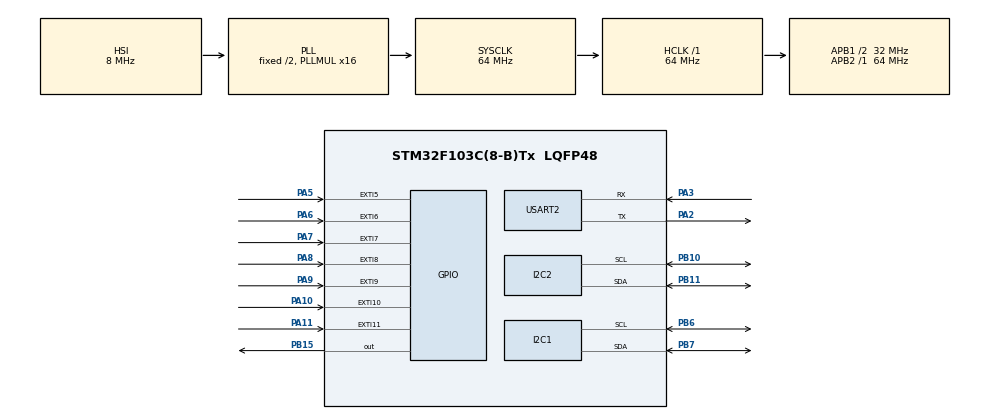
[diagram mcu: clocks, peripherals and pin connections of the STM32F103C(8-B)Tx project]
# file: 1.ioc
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Dma.I2C2_RX.1.Direction=DMA_PERIPH_TO_MEMORY
Dma.I2C2_RX.1.Instance=DMA1_Channel5
Dma.I2C2_RX.1.MemDataAlignment=DMA_MDATAALIGN_BYTE
Dma.I2C2_RX.1.MemInc=DMA_MINC_ENABLE
Dma.I2C2_RX.1.Mode=DMA_CIRCULAR
Dma.I2C2_RX.1.PeriphDataAlignment=DMA_PDATAALIGN_BYTE
Dma.I2C2_RX.1.PeriphInc=DMA_PINC_DISABLE
Dma.I2C2_RX.1.Priority=DMA_PRIORITY_LOW
Dma.MEMTOMEM.0.Direction=DMA_MEMORY_TO_MEMORY
Dma.MEMTOMEM.0.Instance=DMA1_Channel1
Dma.MEMTOMEM.0.MemDataAlignment=DMA_MDATAALIGN_BYTE
Dma.MEMTOMEM.0.MemInc=DMA_MINC_ENABLE
Dma.MEMTOMEM.0.Mode=DMA_NORMAL
Dma.MEMTOMEM.0.PeriphDataAlignment=DMA_PDATAALIGN_BYTE
Dma.MEMTOMEM.0.PeriphInc=DMA_PINC_ENABLE
Dma.MEMTOMEM.0.Priority=DMA_PRIORITY_LOW
Dma.Request0=MEMTOMEM
Dma.Request1=I2C2_RX
Mcu.Family=STM32F1
Mcu.Name=STM32F103C(8-B)Tx
Mcu.Package=LQFP48
NVIC.DMA1_Channel1_IRQn=true\:0\:0\:false\:false\:true\:true\:true
NVIC.DMA1_Channel5_IRQn=true\:0\:0\:false\:false\:true\:false\:true
NVIC.EXTI15_10_IRQn=true\:0\:0\:false\:false\:true\:true\:true
NVIC.EXTI9_5_IRQn=true\:0\:0\:false\:false\:true\:true\:true
NVIC.I2C1_ER_IRQn=true\:0\:0\:false\:false\:true\:true\:true
NVIC.I2C1_EV_IRQn=true\:0\:0\:false\:false\:true\:true\:true
NVIC.I2C2_ER_IRQn=true\:0\:0\:false\:false\:true\:true\:true
NVIC.I2C2_EV_IRQn=true\:0\:0\:false\:false\:true\:true\:true
NVIC.PriorityGroup=NVIC_PRIORITYGROUP_4
NVIC.RTC_Alarm_IRQn=true\:0\:0\:false\:false\:true\:true\:true
NVIC.TIM1_BRK_IRQn=true\:0\:0\:false\:false\:true\:true\:true
NVIC.TIM1_CC_IRQn=true\:0\:0\:false\:false\:true\:true\:true
NVIC.TIM1_TRG_COM_IRQn=true\:0\:0\:false\:false\:true\:true\:true
NVIC.TIM1_UP_IRQn=true\:0\:0\:false\:false\:true\:true\:true
NVIC.USART2_IRQn=true\:0\:0\:false\:false\:true\:true\:true
PA10.GPIO_ModeDefaultEXTI=GPIO_MODE_IT_FALLING
PA10.GPIO_PuPd=GPIO_PULLUP
PA10.Signal=GPXTI10
PA11.GPIO_ModeDefaultEXTI=GPIO_MODE_IT_FALLING
PA11.GPIO_PuPd=GPIO_PULLUP
PA11.Signal=GPXTI11
PA13.Mode=Serial_Wire
PA13.Signal=SYS_JTMS-SWDIO
PA14.Mode=Serial_Wire
PA14.Signal=SYS_JTCK-SWCLK
PA2.Mode=Asynchronous
PA2.Signal=USART2_TX
PA3.Mode=Asynchronous
PA3.Signal=USART2_RX
PA5.GPIO_ModeDefaultEXTI=GPIO_MODE_IT_FALLING
PA5.GPIO_PuPd=GPIO_PULLUP
PA5.Signal=GPXTI5
PA6.GPIO_ModeDefaultEXTI=GPIO_MODE_IT_FALLING
PA6.GPIO_PuPd=GPIO_PULLUP
PA6.Signal=GPXTI6
PA7.GPIO_ModeDefaultEXTI=GPIO_MODE_IT_FALLING
PA7.GPIO_PuPd=GPIO_PULLUP
PA7.Signal=GPXTI7
PA8.GPIO_ModeDefaultEXTI=GPIO_MODE_IT_FALLING
PA8.GPIO_PuPd=GPIO_PULLUP
PA8.Signal=GPXTI8
PA9.GPIO_ModeDefaultEXTI=GPIO_MODE_IT_FALLING
PA9.GPIO_PuPd=GPIO_PULLUP
PA9.Signal=GPXTI9
PB10.Mode=I2C
PB10.Signal=I2C2_SCL
PB11.Mode=I2C
PB11.Signal=I2C2_SDA
PB15.Signal=GPIO_Output
PB6.Mode=I2C
PB6.Signal=I2C1_SCL
PB7.Mode=I2C
PB7.Signal=I2C1_SDA
ProjectManager.HeapSize=0x200
ProjectManager.StackSize=0x400
ProjectManager.TargetToolchain=MDK-ARM V5.27
RCC.AHBFreq_Value=64000000
RCC.APB1CLKDivider=RCC_HCLK_DIV2
RCC.APB1Freq_Value=32000000
RCC.APB1TimFreq_Value=64000000
RCC.APB2Freq_Value=64000000
RCC.APB2TimFreq_Value=64000000
RCC.HCLKFreq_Value=64000000
RCC.PLLMUL=RCC_PLL_MUL16
RCC.SYSCLKFreq_VALUE=64000000
RCC.SYSCLKSource=RCC_SYSCLKSOURCE_PLLCLK
RCC.USBFreq_Value=64000000
RTC.Format=RTC_FORMAT_BIN
TIM1.Period=999
TIM1.Prescaler=63
USART2.VirtualMode=VM_ASYNC
VP_CRC_VS_CRC.Mode=CRC_Activate
VP_RTC_VS_RTC_Activate.Mode=RTC_Enabled
VP_RTC_VS_RTC_Calendar.Mode=RTC_Calendar
VP_TIM1_VS_ClockSourceINT.Mode=Internal
board=custom

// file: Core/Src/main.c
/* USER CODE BEGIN Header */
/**
  ******************************************************************************
  * @file           : main.c
  * @brief          : Main program body
  ******************************************************************************
  * @attention
  *
  * <h2><center>&copy; Copyright (c) 2022 STMicroelectronics.
  * All rights reserved.</center></h2>
  *
  * This software component is licensed by ST under BSD 3-Clause license,
  * the "License"; You may not use this file except in compliance with the
  * License. You may obtain a copy of the License at:
  *                        opensource.org/licenses/BSD-3-Clause
  *
  ******************************************************************************
  */
/* USER CODE END Header */
#include "main.h"
#include "crc.h"
#include "dma.h"
#include "i2c.h"
#include "rtc.h"
#include "tim.h"
#include "usart.h"
#include "gpio.h"

/* USER CODE BEGIN Includes */
#include "oled.h"
#include "stdio.h"
/* USER CODE END Includes */

/* USER CODE BEGIN PTD */
char lcdLine_1st_line[16];
char lcdLine_2st_line[16];
unsigned int time_100ms=1,time_500ms=1;
unsigned int key_flag=0;
/* USER CODE END PTD */

void SystemClock_Config(void);

/* USER CODE BEGIN 0 */
void key(void);
/* USER CODE END 0 */

int main(void)
{

  /* MCU Configuration--------------------------------------------------------*/

  /* Reset of all peripherals, Initializes the Flash interface and the Systick. */
  HAL_Init();

  /* Configure the system clock */
  SystemClock_Config();

  /* Initialize all configured peripherals */
  MX_GPIO_Init();
  MX_DMA_Init();
  MX_CRC_Init();
  MX_I2C1_Init();
  MX_I2C2_Init();
  MX_RTC_Init();
  MX_TIM1_Init();
  MX_USART2_UART_Init();
  /* USER CODE BEGIN 2 */
	HAL_Delay(100);
	OLED_Init();
	HAL_TIM_Base_Start_IT(&htim1);
	sprintf(lcdLine_2st_line, "welcome");
  /* USER CODE END 2 */

  /* Infinite loop */
  while (1)
  {

    /* USER CODE BEGIN 3 */
//		HAL_GPIO_TogglePin(GPIOB, GPIO_PIN_15);
//		HAL_Delay(1000);

		if(time_500ms==1)
		{
			HAL_RTC_GetTime(&hrtc, &sTime, RTC_FORMAT_BIN);
			HAL_RTC_GetDate(&hrtc, &sdata, RTC_FORMAT_BIN);
			if(sTime.Hours<13)
			{
				sprintf(lcdLine_1st_line, "%2d-%2d-%2d",sTime.Hours,sTime.Minutes,sTime.Seconds);
				OLED_ShowString(72, 0, (unsigned char *)"AM", 8);
			}
			if(sTime.Hours>13)
			{
				sprintf(lcdLine_1st_line, "%2d-%2d-%2d",sTime.Hours,sTime.Minutes,sTime.Seconds);
				OLED_ShowString(72, 0, (unsigned char *)"PM", 8);
			}
			time_500ms=0;
		}
		if(time_100ms==1)
		{
			OLED_ShowString(0, 0, (unsigned char *)lcdLine_1st_line, 16);
			OLED_ShowString(0, 2, (unsigned char *)lcdLine_2st_line, 16);
			time_100ms=0;
		}
		key();
  }
  /* USER CODE END 3 */
}
/* USER CODE BEGIN 4 */
void key()
{
	static unsigned int hour,min,sec;
	static unsigned int time_allow=0,clock_allow=0;
	static unsigned int key_1=0;	//判断按键1按下次数
	if(key_flag!=0)
	{
		HAL_GPIO_TogglePin(GPIOB, GPIO_PIN_15);
		if(key_flag==1)		//设置时间或闹钟的按键
		{
			if(key_1==1)		//设置闹钟
			{
				time_allow=0;clock_allow=1;
				OLED_ShowString(84, 2, (unsigned char *)"alarm ", 8);
			}
			if(key_1==0)		//设置时间
			{
				hour=sTime.Hours;
				min=sTime.Minutes;
				sec=sTime.Seconds;
				time_allow=1;clock_allow=0;
				OLED_ShowString(84, 2, (unsigned char *)"time", 8);
			}
			key_1++;
			if(key_1==2)	key_1=0;
		}
		if(key_flag==2)		//确认键
		{
			if(time_allow==1)
			{
				sTime.Hours=hour;
				sTime.Minutes=min;
				sTime.Seconds=sec;
				HAL_RTC_SetTime(&hrtc, &sTime, RTC_FORMAT_BIN);
			}
		}
		if(key_flag==6)		//断电键
		{
			time_allow=0;clock_allow=0;
			sprintf(lcdLine_2st_line, "                   ");
		}

			//以下代码，附属摁键1之后的操作
			if(time_allow==1)
			{
				if(key_flag==3)
				{
					hour++;
					if(hour==24)	hour=0;
				}
				if(key_flag==4)
				{
					min++;
					if(min==60)		min=0;
				}
				if(key_flag==5)
				{
					sec++;
					if(sec==60)		sec=0;
				}
				sprintf(lcdLine_2st_line, "%2d:%2d:%2d",hour,min,sec);
			}
		key_flag=0;
	}
}
void HAL_GPIO_EXTI_Callback(uint16_t GPIO_Pin)
{
	static unsigned int i=0;
	if(GPIO_Pin==GPIO_PIN_5)
	{
		i++;
		if(i==2)
		{
			key_flag=1;		//设置键
			i=0;
		}
	}
	if(GPIO_Pin==GPIO_PIN_6)
	{
		i++;
		if(i==2)
		{
			key_flag=2;
			i=0;
		}
	}
	if(GPIO_Pin==GPIO_PIN_7)
	{
		i++;
		if(i==3)
		{
			key_flag=3;
			i=0;
		}
	}
	if(GPIO_Pin==GPIO_PIN_8)
	{
		i++;
		if(i==2)
		{
			key_flag=4;
			i=0;
		}
	}
	if(GPIO_Pin==GPIO_PIN_9)
	{
		i++;
		if(i==2)
		{
			key_flag=5;
			i=0;
		}
	}
	if(GPIO_Pin==GPIO_PIN_10)
	{
		i++;
		if(i==2)
		{
			key_flag=6;
			HAL_NVIC_SystemReset();
			i=0;
		}
	}
	if(GPIO_Pin==GPIO_PIN_11)
	{
		i++;
		if(i==2)
		{
			key_flag=7;
			i=0;
		}
	}
}
void HAL_TIM_PeriodElapsedCallback(TIM_HandleTypeDef *htim)
{
//	if(htim->Instance==TIM1)
	{
		static unsigned int a=0,b=0;
		a++;b++;
		if(a==100)
		{
			time_100ms=!time_100ms;
			a=0;
		}
		if(b==500)
		{
			time_500ms=!time_500ms;
			b=0;
		}
	}
}
/* USER CODE END 4 */

void SystemClock_Config(void)
{
  RCC_OscInitTypeDef RCC_OscInitStruct = {0};
  RCC_ClkInitTypeDef RCC_ClkInitStruct = {0};
  RCC_PeriphCLKInitTypeDef PeriphClkInit = {0};

  /** Initializes the RCC Oscillators according to the specified parameters
  * in the RCC_OscInitTypeDef structure.
  */
  RCC_OscInitStruct.OscillatorType = RCC_OSCILLATORTYPE_HSI|RCC_OSCILLATORTYPE_LSI;
  RCC_OscInitStruct.HSIState = RCC_HSI_ON;
  RCC_OscInitStruct.HSICalibrationValue = RCC_HSICALIBRATION_DEFAULT;
  RCC_OscInitStruct.LSIState = RCC_LSI_ON;
  RCC_OscInitStruct.PLL.PLLState = RCC_PLL_ON;
  RCC_OscInitStruct.PLL.PLLSource = RCC_PLLSOURCE_HSI_DIV2;
  RCC_OscInitStruct.PLL.PLLMUL = RCC_PLL_MUL16;
  if (HAL_RCC_OscConfig(&RCC_OscInitStruct) != HAL_OK)
  {
    Error_Handler();
  }
  /** Initializes the CPU, AHB and APB buses clocks
  */
  RCC_ClkInitStruct.ClockType = RCC_CLOCKTYPE_HCLK|RCC_CLOCKTYPE_SYSCLK
                              |RCC_CLOCKTYPE_PCLK1|RCC_CLOCKTYPE_PCLK2;
  RCC_ClkInitStruct.SYSCLKSource = RCC_SYSCLKSOURCE_PLLCLK;
  RCC_ClkInitStruct.AHBCLKDivider = RCC_SYSCLK_DIV1;
  RCC_ClkInitStruct.APB1CLKDivider = RCC_HCLK_DIV2;
  RCC_ClkInitStruct.APB2CLKDivider = RCC_HCLK_DIV1;

  if (HAL_RCC_ClockConfig(&RCC_ClkInitStruct, FLASH_LATENCY_2) != HAL_OK)
  {
    Error_Handler();
  }
  PeriphClkInit.PeriphClockSelection = RCC_PERIPHCLK_RTC;
  PeriphClkInit.RTCClockSelection = RCC_RTCCLKSOURCE_LSI;
  if (HAL_RCCEx_PeriphCLKConfig(&PeriphClkInit) != HAL_OK)
  {
    Error_Handler();
  }
}

void Error_Handler(void)
{
  __disable_irq();
  while (1)
  {
  }
}

/************************ (C) COPYRIGHT STMicroelectronics *****END OF FILE****/
